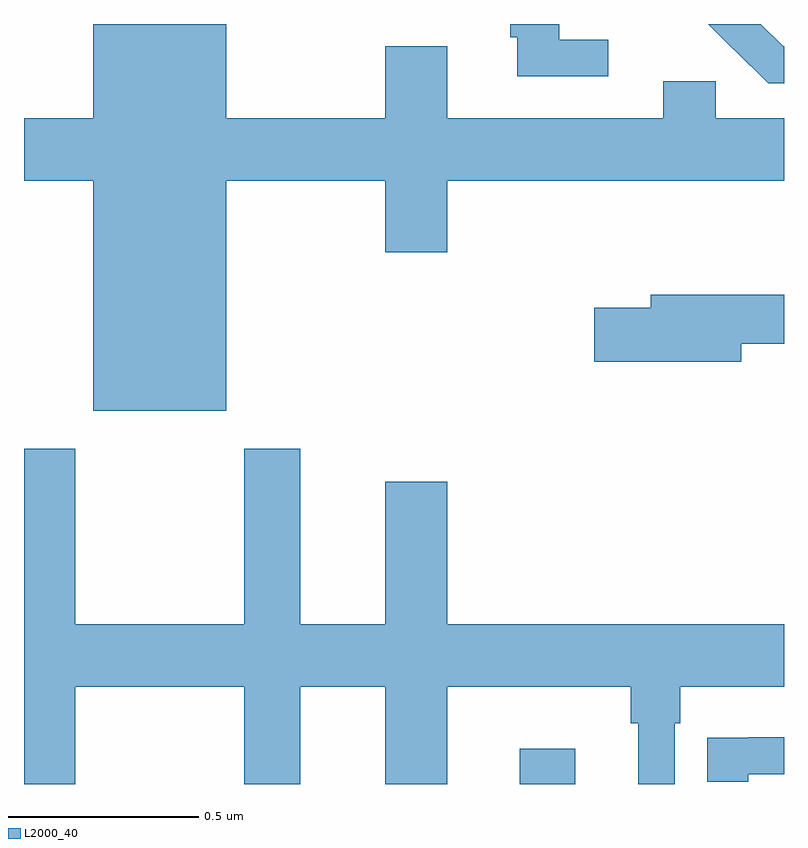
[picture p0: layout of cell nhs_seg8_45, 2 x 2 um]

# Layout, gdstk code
import gdstk
lib = gdstk.Library(unit=1e-6, precision=1e-09)
def R(c, l, rs):  # rectangles x0, y0, x1, y1
    for r in rs: c.add(gdstk.rectangle(r[:2], r[2:], *l))
def P(c, l, *ps):  # polygons
    for p in ps: c.add(gdstk.Polygon(p, *l))
L2000_40 = (2000, 40)

nhs_seg8_45 = lib.new_cell('nhs_seg8_45')
R(nhs_seg8_45, L2000_40, [(112.304,1126.9,112.45,1126.993)])
P(nhs_seg8_45, L2000_40, [(111.532,1128.488),(111.95,1128.488),(111.95,1128.3),(112.114,1128.3),(112.114,1128.488),(113,1128.488),(113,1128.652),(112.821,1128.652),(112.821,1128.75),(112.682,1128.75),(112.682,1128.652),(112.114,1128.652),(112.114,1128.841),(111.95,1128.841),(111.95,1128.652),(111.532,1128.652),(111.532,1128.9),(111.182,1128.9),(111.182,1128.652),(111,1128.652),(111,1128.488),(111.182,1128.488),(111.182,1127.882),(111.532,1127.882)],
  [(112.537,1128.858),(112.408,1128.858),(112.408,1128.9),(112.279,1128.9),(112.279,1128.865),(112.298,1128.865),(112.298,1128.762),(112.537,1128.762)],
  [(113,1128.841),(112.998,1128.841),(112.939,1128.9),(112.801,1128.9),(112.866,1128.834),(112.867,1128.835),(112.958,1128.744),(113,1128.744)],
  [(112.888,1128.058),(113,1128.058),(113,1128.187),(112.649,1128.187),(112.649,1128.153),(112.5,1128.153),(112.5,1128.011),(112.888,1128.011)],
  [(111.135,1127.156),(111.58,1127.156),(111.58,1126.9),(111.727,1126.9),(111.727,1127.156),(111.95,1127.156),(111.95,1126.9),(112.114,1126.9),(112.114,1127.156),(112.597,1127.156),(112.597,1127.06),(112.616,1127.06),(112.616,1126.9),(112.713,1126.9),(112.713,1127.06),(112.727,1127.06),(112.727,1127.156),(113,1127.156),(113,1127.32),(112.114,1127.32),(112.114,1127.695),(111.95,1127.695),(111.95,1127.32),(111.727,1127.32),(111.727,1127.782),(111.58,1127.782),(111.58,1127.32),(111.135,1127.32),(111.135,1127.782),(111,1127.782),(111,1126.9),(111.135,1126.9)],
  [(112.906,1126.926),(113,1126.926),(113,1127.023),(112.906,1127.023),(112.906,1127.022),(112.798,1127.022),(112.798,1126.906),(112.906,1126.906)])

lib.write_gds('nhs_seg8_45.gds')
